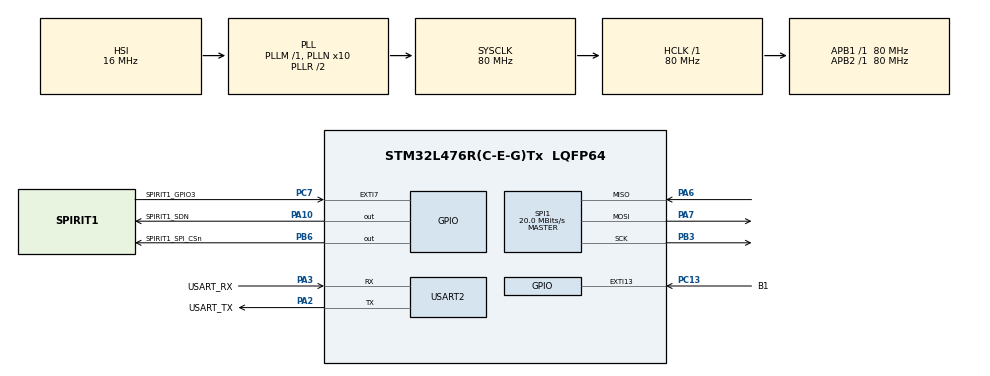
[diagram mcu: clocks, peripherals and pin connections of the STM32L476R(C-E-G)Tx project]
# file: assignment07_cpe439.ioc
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FREERTOS.Tasks01=defaultTask,24,128,StartDefaultTask,Default,NULL,Dynamic,NULL,NULL
FREERTOS.configUSE_NEWLIB_REENTRANT=1
Mcu.Family=STM32L4
Mcu.Name=STM32L476R(C-E-G)Tx
Mcu.Package=LQFP64
NVIC.EXTI15_10_IRQn=true\:5\:0\:false\:false\:true\:true\:true\:true\:true
NVIC.EXTI9_5_IRQn=true\:5\:0\:false\:false\:true\:true\:true\:true\:true
NVIC.PriorityGroup=NVIC_PRIORITYGROUP_4
NVIC.TIM6_DAC_IRQn=true\:15\:0\:false\:false\:true\:false\:false\:true\:true
NVIC.TimeBase=TIM6_DAC_IRQn
NVIC.TimeBaseIP=TIM6
NVIC.USART2_IRQn=true\:5\:0\:false\:false\:true\:true\:true\:true\:true
PA10.GPIO_Label=SPIRIT1_SDN
PA10.Signal=GPIO_Output
PA13\ (JTMS-SWDIO).GPIO_Label=TMS
PA13\ (JTMS-SWDIO).Mode=Serial_Wire
PA13\ (JTMS-SWDIO).Signal=SYS_JTMS-SWDIO
PA14\ (JTCK-SWCLK).GPIO_Label=TCK
PA14\ (JTCK-SWCLK).Mode=Serial_Wire
PA14\ (JTCK-SWCLK).Signal=SYS_JTCK-SWCLK
PA2.GPIO_Label=USART_TX
PA2.Mode=Asynchronous
PA2.Signal=USART2_TX
PA3.GPIO_Label=USART_RX
PA3.Mode=Asynchronous
PA3.Signal=USART2_RX
PA6.Mode=Full_Duplex_Master
PA6.Signal=SPI1_MISO
PA7.Mode=Full_Duplex_Master
PA7.Signal=SPI1_MOSI
PB3\ (JTDO-TRACESWO).Mode=Full_Duplex_Master
PB3\ (JTDO-TRACESWO).Signal=SPI1_SCK
PB6.GPIO_Label=SPIRIT1_SPI_CSn
PB6.Signal=GPIO_Output
PC13.GPIO_Label=B1
PC13.Signal=GPXTI13
PC14-OSC32_IN\ (PC14).Mode=LSE-External-Oscillator
PC14-OSC32_IN\ (PC14).Signal=RCC_OSC32_IN
PC15-OSC32_OUT\ (PC15).Mode=LSE-External-Oscillator
PC15-OSC32_OUT\ (PC15).Signal=RCC_OSC32_OUT
PC7.GPIO_Label=SPIRIT1_GPIO3
PC7.GPIO_ModeDefaultEXTI=GPIO_MODE_IT_FALLING
PC7.Signal=GPXTI7
PH0-OSC_IN\ (PH0).Signal=RCC_OSC_IN
PH1-OSC_OUT\ (PH1).Signal=RCC_OSC_OUT
ProjectManager.HeapSize=0x400
ProjectManager.StackSize=0x400
ProjectManager.TargetToolchain=STM32CubeIDE
RCC.ADCFreq_Value=64000000
RCC.AHBFreq_Value=80000000
RCC.APB1Freq_Value=80000000
RCC.APB1TimFreq_Value=80000000
RCC.APB2Freq_Value=80000000
RCC.APB2TimFreq_Value=80000000
RCC.CortexFreq_Value=80000000
RCC.HCLKFreq_Value=80000000
RCC.HSE_VALUE=8000000
RCC.HSI_VALUE=16000000
RCC.MSI_VALUE=4000000
RCC.PLLN=10
RCC.PLLSourceVirtual=RCC_PLLSOURCE_HSI
RCC.PREFETCH_ENABLE=1
RCC.SYSCLKFreq_VALUE=80000000
RCC.SYSCLKSource=RCC_SYSCLKSOURCE_PLLCLK
RCC.USBFreq_Value=64000000
RCC.VCOOutputFreq_Value=160000000
SPI1.BaudRatePrescaler=SPI_BAUDRATEPRESCALER_4
SPI1.CalculateBaudRate=20.0 MBits/s
SPI1.DataSize=SPI_DATASIZE_8BIT
SPI1.Direction=SPI_DIRECTION_2LINES
SPI1.Mode=SPI_MODE_MASTER
SPI1.NSSPMode=SPI_NSS_PULSE_ENABLE
SPI1.VirtualType=VM_MASTER
USART2.VirtualMode-Asynchronous=VM_ASYNC
VP_FREERTOS_VS_CMSIS_V2.Mode=CMSIS_V2
VP_SYS_VS_tim6.Mode=TIM6
board=NUCLEO-L476RG

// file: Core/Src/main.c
/* USER CODE BEGIN Header */
/**
 ******************************************************************************
 * @file           : main.c
 * @brief          : Main program body
 ******************************************************************************
 * @attention
 *
 * Copyright (c) 2023 STMicroelectronics.
 * All rights reserved.
 *
 * This software is licensed under terms that can be found in the LICENSE file
 * in the root directory of this software component.
 * If no LICENSE file comes with this software, it is provided AS-IS.
 *
 ******************************************************************************
 */
/* USER CODE END Header */

/* USER CODE BEGIN Includes */
#include "main.h"
#include "cmsis_os.h"
#include "spi.h"
#include "usart.h"
#include "gpio.h"
#include "MyTasks.h"
#include <string.h>
#include <stdio.h>
#include "spsgrf.h"

TaskHandle_t TXmessage_Handler,RXmessage_Handler, printmessage_Handler;
volatile uint8_t DMorGM = 0;
uint8_t sendflag = 0;
volatile SpiritFlagStatus xTxDoneFlag;
volatile IrqList xRxDoneFlag;

/* USER CODE END Includes */

/* USER CODE BEGIN PM */

//volatile SpiritFlagStatus xTxDoneFlag;
//volatile SpiritFlagStatus xRxDoneFlag;
char rxbuffer[PAYLOAD_SIZE];
char payload[PAYLOAD_SIZE] = "I am Ed!\r\n";

/* USER CODE END PM */

/* USER CODE BEGIN PV */
//#define APPLICATION_TRANSMITTER // comment out if programming the receiver

//volatile SpiritFlagStatus xTxDoneFlag;
//volatile SpiritFlagStatus xRxDoneFlag;
/* USER CODE END PV */

void SystemClock_Config(void);
void MX_FREERTOS_Init(void);

int main(void)
{
	/* USER CODE BEGIN 1 */

	char payloadRX[PAYLOAD_SIZE] = "";

	uint8_t rxLen;
	BaseType_t retVal;	// used for checking task creation
	/* USER CODE END 1 */

	/* MCU Configuration--------------------------------------------------------*/

	/* Reset of all peripherals, Initializes the Flash interface and the Systick. */
	HAL_Init();

	/* Configure the system clock */
	SystemClock_Config();

	/* Initialize all configured peripherals */
	MX_GPIO_Init();
	MX_SPI1_Init();
	MX_USART2_UART_Init();
	UART_escapes("[H");
	/* USER CODE BEGIN 2 */

	SPSGRF_Init();
    SpiritPktCommonSetDestinationAddress(0xFF);
	SpiritPktStackSetPayloadLength(PAYLOAD_SIZE);
	//    SpiritPktBasicSetDestinationAddress(0x44);

	retVal = xTaskCreate(TX_task, "TX task", 5*configMINIMAL_STACK_SIZE, NULL, tskIDLE_PRIORITY+4, &TXmessage_Handler);
	if(retVal!=pdPASS){while(1);}//task creation failed

	retVal = xTaskCreate(RX_task, "RX task", 2*configMINIMAL_STACK_SIZE, NULL, tskIDLE_PRIORITY+3, &RXmessage_Handler);
	if(retVal!=pdPASS){while(1);}//task creation failed

	retVal = xTaskCreate(print_task, "TX task", 2*configMINIMAL_STACK_SIZE, NULL, tskIDLE_PRIORITY+3, &printmessage_Handler);
	if(retVal!=pdPASS){while(1);}//task creation failed

	/* USER CODE END 2 */

	/* Init scheduler */
	osKernelInitialize();  /* Call init function for freertos objects (in freertos.c) */
	MX_FREERTOS_Init();

	/* Start scheduler */
	osKernelStart();
	/* We should never get here as control is now taken by the scheduler */
	/* Infinite loop */
	while (1)
	{

//		/* USER CODE BEGIN 3 */
//		while(RXorTX==3);
//		if(RXorTX)
//			{
//			    if(sendflag)
//			    {
//
//					xTxDoneFlag = S_RESET;
//
//					// Send the payload
//					SPSGRF_StartTx(payload, strlen(payload));
//					while(!xTxDoneFlag);
//
//					HAL_UART_Transmit(&huart2, "Payload Sent\r\n", 14, HAL_MAX_DELAY);
//
//					HAL_Delay(2000); // Block for 2000 ms
////
//			    	sendflag = 0;
//			    	memset(payload,'\0',100);
//			    }
//			}
//			else
//			{
//			xRxDoneFlag = S_RESET;
//			SPSGRF_StartRx();
//			while (!xRxDoneFlag);
//			uint8_t sAddress = SpiritPktCommonGetReceivedSourceAddress();
//			rxLen = SPSGRF_GetRxData(payloadRX);
//			char sAddString[4];
//			itoa(sAddress, sAddString, 16);
//			UART_print("x");
//			UART_print(sAddString);
//			UART_print(" :");
//			UART_print(payloadRX);
//			UART_print("\n\r");
//			}

	}
	/* USER CODE END 3 */
}

void SystemClock_Config(void)
{
	RCC_OscInitTypeDef RCC_OscInitStruct = {0};
	RCC_ClkInitTypeDef RCC_ClkInitStruct = {0};

	/** Configure the main internal regulator output voltage
	 */
	if (HAL_PWREx_ControlVoltageScaling(PWR_REGULATOR_VOLTAGE_SCALE1) != HAL_OK)
	{
		Error_Handler();
	}

	/** Initializes the RCC Oscillators according to the specified parameters
	 * in the RCC_OscInitTypeDef structure.
	 */
	RCC_OscInitStruct.OscillatorType = RCC_OSCILLATORTYPE_HSI;
	RCC_OscInitStruct.HSIState = RCC_HSI_ON;
	RCC_OscInitStruct.HSICalibrationValue = RCC_HSICALIBRATION_DEFAULT;
	RCC_OscInitStruct.PLL.PLLState = RCC_PLL_ON;
	RCC_OscInitStruct.PLL.PLLSource = RCC_PLLSOURCE_HSI;
	RCC_OscInitStruct.PLL.PLLM = 1;
	RCC_OscInitStruct.PLL.PLLN = 10;
	RCC_OscInitStruct.PLL.PLLP = RCC_PLLP_DIV7;
	RCC_OscInitStruct.PLL.PLLQ = RCC_PLLQ_DIV2;
	RCC_OscInitStruct.PLL.PLLR = RCC_PLLR_DIV2;
	if (HAL_RCC_OscConfig(&RCC_OscInitStruct) != HAL_OK)
	{
		Error_Handler();
	}

	/** Initializes the CPU, AHB and APB buses clocks
	 */
	RCC_ClkInitStruct.ClockType = RCC_CLOCKTYPE_HCLK|RCC_CLOCKTYPE_SYSCLK
			|RCC_CLOCKTYPE_PCLK1|RCC_CLOCKTYPE_PCLK2;
	RCC_ClkInitStruct.SYSCLKSource = RCC_SYSCLKSOURCE_PLLCLK;
	RCC_ClkInitStruct.AHBCLKDivider = RCC_SYSCLK_DIV1;
	RCC_ClkInitStruct.APB1CLKDivider = RCC_HCLK_DIV1;
	RCC_ClkInitStruct.APB2CLKDivider = RCC_HCLK_DIV1;

	if (HAL_RCC_ClockConfig(&RCC_ClkInitStruct, FLASH_LATENCY_4) != HAL_OK)
	{
		Error_Handler();
	}
}

///* USER CODE BEGIN 4 */
void HAL_GPIO_EXTI_Callback(uint16_t GPIO_Pin)
{
	SpiritIrqs xIrqStatus;

	if (GPIO_Pin != SPIRIT1_GPIO3_Pin)
	{
		return;
	}

	SpiritIrqGetStatus(&xIrqStatus);
	if (xIrqStatus.IRQ_TX_DATA_SENT)
	{
		xTxDoneFlag = S_SET;
	}
	if (xIrqStatus.IRQ_RX_DATA_READY)
	{
		xRxDoneFlag = RX_DATA_READY;
	}
	if (xIrqStatus.IRQ_RX_DATA_DISC)
	{
		SpiritCmdStrobeRx();

	}
	if (xIrqStatus.IRQ_RX_TIMEOUT)
		{
		xRxDoneFlag = RX_TIMEOUT;

		}

}
/* USER CODE END 4 */

void HAL_TIM_PeriodElapsedCallback(TIM_HandleTypeDef *htim)
{
	if (htim->Instance == TIM6) {
		HAL_IncTick();
	}
}

void Error_Handler(void)
{
	__disable_irq();
	while (1)
	{
	}
}
